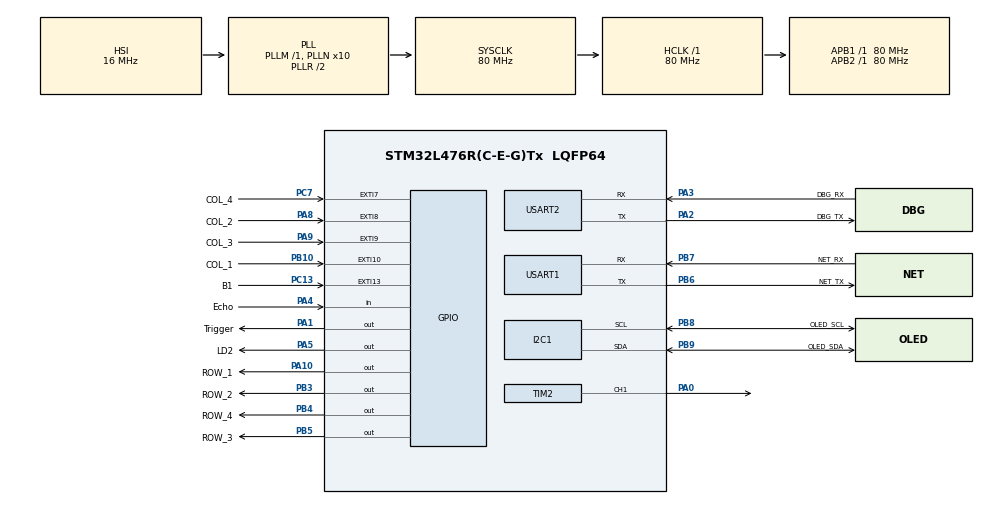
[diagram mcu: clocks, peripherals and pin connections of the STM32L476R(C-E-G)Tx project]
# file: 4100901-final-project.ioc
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Dma.Request0=TIM3_CH4/UP
Dma.TIM3_CH4/UP.0.Direction=DMA_PERIPH_TO_MEMORY
Dma.TIM3_CH4/UP.0.Instance=DMA1_Channel3
Dma.TIM3_CH4/UP.0.MemDataAlignment=DMA_MDATAALIGN_HALFWORD
Dma.TIM3_CH4/UP.0.MemInc=DMA_MINC_ENABLE
Dma.TIM3_CH4/UP.0.Mode=DMA_NORMAL
Dma.TIM3_CH4/UP.0.PeriphDataAlignment=DMA_PDATAALIGN_HALFWORD
Dma.TIM3_CH4/UP.0.PeriphInc=DMA_PINC_DISABLE
Dma.TIM3_CH4/UP.0.Priority=DMA_PRIORITY_LOW
I2C1.Timing=0x10909CEC
Mcu.Family=STM32L4
Mcu.Name=STM32L476R(C-E-G)Tx
Mcu.Package=LQFP64
NVIC.DMA1_Channel3_IRQn=true\:0\:0\:false\:false\:true\:false\:true\:true
NVIC.EXTI15_10_IRQn=true\:0\:0\:false\:false\:true\:true\:true\:true
NVIC.EXTI9_5_IRQn=true\:0\:0\:false\:false\:true\:true\:true\:true
NVIC.PriorityGroup=NVIC_PRIORITYGROUP_4
NVIC.RTC_Alarm_IRQn=true\:0\:0\:false\:false\:true\:true\:true\:true
NVIC.TIM3_IRQn=true\:0\:0\:false\:false\:true\:true\:true\:true
NVIC.USART1_IRQn=true\:0\:0\:false\:false\:true\:true\:true\:true
PA0.Signal=S_TIM2_CH1
PA1.GPIO_Label=Trigger
PA1.Signal=GPIO_Output
PA10.GPIO_Label=ROW_1
PA10.Signal=GPIO_Output
PA13\ (JTMS-SWDIO).GPIO_Label=TMS
PA13\ (JTMS-SWDIO).Mode=Serial_Wire
PA13\ (JTMS-SWDIO).Signal=SYS_JTMS-SWDIO
PA14\ (JTCK-SWCLK).GPIO_Label=TCK
PA14\ (JTCK-SWCLK).Mode=Serial_Wire
PA14\ (JTCK-SWCLK).Signal=SYS_JTCK-SWCLK
PA2.GPIO_Label=DBG_TX
PA2.GPIO_Mode=GPIO_MODE_AF_PP
PA2.GPIO_PuPd=GPIO_NOPULL
PA2.GPIO_Speed=GPIO_SPEED_FREQ_VERY_HIGH
PA2.Mode=Asynchronous
PA2.Signal=USART2_TX
PA3.GPIO_Label=DBG_RX
PA3.GPIO_Mode=GPIO_MODE_AF_PP
PA3.GPIO_PuPd=GPIO_NOPULL
PA3.GPIO_Speed=GPIO_SPEED_FREQ_VERY_HIGH
PA3.Mode=Asynchronous
PA3.Signal=USART2_RX
PA4.GPIO_Label=Echo
PA4.Signal=GPIO_Input
PA5.GPIO_Label=LD2
PA5.GPIO_ModeDefaultOutputPP=GPIO_MODE_OUTPUT_PP
PA5.GPIO_PuPd=GPIO_NOPULL
PA5.GPIO_Speed=GPIO_SPEED_FREQ_LOW
PA5.Signal=GPIO_Output
PA8.GPIO_Label=COL_2
PA8.GPIO_PuPd=GPIO_PULLDOWN
PA8.Signal=GPXTI8
PA9.GPIO_Label=COL_3
PA9.GPIO_PuPd=GPIO_PULLDOWN
PA9.Signal=GPXTI9
PB10.GPIO_Label=COL_1
PB10.GPIO_PuPd=GPIO_PULLDOWN
PB10.Signal=GPXTI10
PB3\ (JTDO-TRACESWO).GPIO_Label=ROW_2
PB3\ (JTDO-TRACESWO).Signal=GPIO_Output
PB4\ (NJTRST).GPIO_Label=ROW_4
PB4\ (NJTRST).Signal=GPIO_Output
PB5.GPIO_Label=ROW_3
PB5.Signal=GPIO_Output
PB6.GPIO_Label=NET_TX
PB6.Mode=Asynchronous
PB6.Signal=USART1_TX
PB7.GPIO_Label=NET_RX
PB7.Mode=Asynchronous
PB7.Signal=USART1_RX
PB8.GPIO_Label=OLED_SCL
PB8.Mode=I2C
PB8.Signal=I2C1_SCL
PB9.GPIO_Label=OLED_SDA
PB9.Mode=I2C
PB9.Signal=I2C1_SDA
PC13.GPIO_Label=B1
PC13.GPIO_ModeDefaultEXTI=GPIO_MODE_IT_FALLING
PC13.GPIO_PuPd=GPIO_NOPULL
PC13.Signal=GPXTI13
PC14-OSC32_IN\ (PC14).GPIO_Label=LSE_IN
PC14-OSC32_IN\ (PC14).Mode=LSE-External-Oscillator
PC14-OSC32_IN\ (PC14).Signal=RCC_OSC32_IN
PC15-OSC32_OUT\ (PC15).GPIO_Label=LSE_OUT
PC15-OSC32_OUT\ (PC15).Mode=LSE-External-Oscillator
PC15-OSC32_OUT\ (PC15).Signal=RCC_OSC32_OUT
PC7.GPIO_Label=COL_4
PC7.GPIO_PuPd=GPIO_PULLDOWN
PC7.Signal=GPXTI7
ProjectManager.HeapSize=0x200
ProjectManager.StackSize=0x400
ProjectManager.TargetToolchain=STM32CubeIDE
RCC.ADCFreq_Value=64000000
RCC.AHBFreq_Value=80000000
RCC.APB1Freq_Value=80000000
RCC.APB1TimFreq_Value=80000000
RCC.APB2Freq_Value=80000000
RCC.APB2TimFreq_Value=80000000
RCC.CortexFreq_Value=80000000
RCC.HCLKFreq_Value=80000000
RCC.HSE_VALUE=8000000
RCC.HSI_VALUE=16000000
RCC.MSI_VALUE=4000000
RCC.PLLN=10
RCC.PLLSourceVirtual=RCC_PLLSOURCE_HSI
RCC.PREFETCH_ENABLE=1
RCC.SYSCLKFreq_VALUE=80000000
RCC.SYSCLKSource=RCC_SYSCLKSOURCE_PLLCLK
RCC.USBFreq_Value=64000000
RCC.VCOOutputFreq_Value=160000000
RTC.Alarm-Alarm\ A=RTC_ALARM_A
RTC.Seconds_A-Alarm\ A=0
SH.S_TIM2_CH1.0=TIM2_CH1,PWM Generation1 CH1
TIM2.AutoReloadPreload=TIM_AUTORELOAD_PRELOAD_DISABLE
TIM2.Channel-PWM\ Generation1\ CH1=TIM_CHANNEL_1
TIM2.Period=20000
TIM2.Prescaler=80-1
TIM3.AutoReloadPreload=TIM_AUTORELOAD_PRELOAD_ENABLE
TIM3.Prescaler=79
USART1.VirtualMode-Asynchronous=VM_ASYNC
USART2.VirtualMode-Asynchronous=VM_ASYNC
VP_RTC_VS_RTC_Activate.Mode=RTC_Enabled
VP_RTC_VS_RTC_Alarm_A_Intern.Mode=Alarm A
VP_RTC_VS_RTC_Calendar.Mode=RTC_Calendar
VP_TIM2_VS_ClockSourceINT.Mode=Internal
VP_TIM3_VS_ClockSourceINT.Mode=Internal
board=NUCLEO-L476RG

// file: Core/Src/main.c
/* USER CODE BEGIN Header */
/**
  ******************************************************************************
  * @file           : main.c
  * @brief          : Main program body
  ******************************************************************************
  * @attention
  *
  * Copyright (c) 2023 STMicroelectronics.
  * All rights reserved.
  *
  * This software is licensed under terms that can be found in the LICENSE file
  * in the root directory of this software component.
  * If no LICENSE file comes with this software, it is provided AS-IS.
  *
  ******************************************************************************
  */
/* USER CODE END Header */
#include "main.h"

/* USER CODE BEGIN Includes */
#include <stdio.h>
#include <string.h>

#include "lock.h"
#include "keypad.h"
#include "ring_buffer.h"
#include "hc_sr04.h"
#include "PWM_cont.h"

/* USER CODE END Includes */

/* USER CODE BEGIN PD */
// Estas variables deben ser globales o accesibles desde main

/* USER CODE END PD */

I2C_HandleTypeDef hi2c1;

RTC_HandleTypeDef hrtc;

TIM_HandleTypeDef htim3;
DMA_HandleTypeDef hdma_tim3_ch4_up;

/* USER CODE BEGIN PV */
volatile uint16_t keypad_event = KEYPAD_EVENT_NONE;

//uint8_t message_[5];
//ring_buffer_t Rx_Data_;
/* USER CODE END PV */

void SystemClock_Config(void);
static void MX_GPIO_Init(void);
static void MX_DMA_Init(void);
static void MX_USART2_UART_Init(void);
static void MX_I2C1_Init(void);
static void MX_USART1_UART_Init(void);
static void MX_RTC_Init(void);
static void MX_TIM2_Init(void);
static void MX_TIM3_Init(void);

/* USER CODE BEGIN 0 */
int _write(int file, char *ptr, int len)
{
  // send each byte in blocking mode
  for (uint8_t idx = 0; idx < len; idx++) {
	  while (LL_USART_IsActiveFlag_TXE(USART2) == 0) {
		  // wait until Tx Empty flag becomes true
		  // TODO: add timeout
	  }
	  LL_USART_TransmitData8(USART2, ptr[idx]);
  }
  return len;
}

void keypad_it_callback(uint16_t pin)
{
	keypad_event = pin;
}
/*
void Rx_USART1_(ring_buffer_t *ring_buffer) {
    if (LL_USART_IsActiveFlag_RXNE(USART1)) {
        uint8_t received_data = LL_USART_ReceiveData8(USART1);
        ring_buffer_put(ring_buffer, received_data);
        printf("data %x \r\n", received_data);

    if(ring_buffer_is_full(ring_buffer)){
    	ring_buffer_reset(&Rx_Data_);
    	memset(message_,0,sizeof(message_));
    }
    }
}*/
/* USER CODE END 0 */

int main(void)
{

  /* MCU Configuration--------------------------------------------------------*/

  /* Reset of all peripherals, Initializes the Flash interface and the Systick. */
  HAL_Init();

  /* Configure the system clock */
  SystemClock_Config();

  /* Initialize all configured peripherals */
  MX_GPIO_Init();
  MX_DMA_Init();
  MX_USART2_UART_Init();
  MX_I2C1_Init();
  MX_USART1_UART_Init();
  MX_RTC_Init();
  MX_TIM2_Init();
  MX_TIM3_Init();
  /* USER CODE BEGIN 2 */
  lock_init();
  //LL_USART_EnableIT_RXNE(USART1);
  keypad_init();
  //Rx_USART1_init(&Rx_Data, message, 5);
  //ring_buffer_init(&Rx_Data_, message_, 5);

  HC_SR04_Init();  // Inicializa el sensor HC-SR04
  LL_TIM_EnableCounter(TIM3); // Inicia el temporizador TIM3

  /* USER CODE END 2 */

  /* Infinite loop */
  /* USER CODE BEGIN WHILE */

  printf("Started\r\n");
  // Variables to track the state of the LED and the last time it changed

  uint32_t lastLedChangeTime = 0;
  uint8_t ledIsOn = 0;

  while (1)
  {
	  Rx_USART1();
	  uint8_t flag = Flag_USART1();
	  if (flag==1) {
		  lock_sequence();
	}
	  uint32_t currentTime = HAL_GetTick();

/*
	      // Reinicio automático del LED después de 4 segundos
	      if ((currentTime - lastLedChangeTime) > 4000) {
	          LL_GPIO_ResetOutputPin(LD2_GPIO_Port, LD2_Pin); // Apagar el LED
	          ledIsOn = 0;
	          lastLedChangeTime = currentTime;
	      }
*/

	      // Otras operaciones

	      uint8_t key_pressed = keypad_run(&keypad_event);
	      if (key_pressed != KEY_PRESSED_NONE) {
	          lock_sequence_handler(key_pressed);
	          lock_control_ultrasonic_sensor(key_pressed);
	      }

	      if (ultrasonicSensorEnabled == 1) {

	           uint32_t distance = HC_SR04_Read();

			  // Si la distancia es mayor que 0 y menor o igual a 30, manejar el LED
			  if (distance > 0) {
				  printf("Distancia: %lu cm\r\n", distance);
				  if (distance <= 8 && !ledIsOn) {
					  LL_GPIO_SetOutputPin(LD2_GPIO_Port, LD2_Pin); // Encender el LED
					  ledIsOn = 1;
					  //PWM_SendSOS();
					  lastLedChangeTime = currentTime;
				  } else if (distance > 8 && ledIsOn) {
					  LL_GPIO_ResetOutputPin(LD2_GPIO_Port, LD2_Pin); // Apagar el LED
					  ledIsOn = 0;
					  lastLedChangeTime = currentTime;
				  }
			  } else {
				  printf("Error en la lectura del sensor\r\n");
				  LL_GPIO_ResetOutputPin(LD2_GPIO_Port, LD2_Pin); // Asegurarse de que el LED esté apagado
				  ledIsOn = 0;
				  lastLedChangeTime = currentTime;
			  }

	      }

	      PWM_Morse_Update();

	      HAL_Delay(100);

    /* USER CODE END WHILE */

  }
}

void SystemClock_Config(void)
{
  RCC_OscInitTypeDef RCC_OscInitStruct = {0};
  RCC_ClkInitTypeDef RCC_ClkInitStruct = {0};

  /** Configure the main internal regulator output voltage
  */
  if (HAL_PWREx_ControlVoltageScaling(PWR_REGULATOR_VOLTAGE_SCALE1) != HAL_OK)
  {
    Error_Handler();
  }

  /** Initializes the RCC Oscillators according to the specified parameters
  * in the RCC_OscInitTypeDef structure.
  */
  RCC_OscInitStruct.OscillatorType = RCC_OSCILLATORTYPE_HSI|RCC_OSCILLATORTYPE_LSI;
  RCC_OscInitStruct.HSIState = RCC_HSI_ON;
  RCC_OscInitStruct.HSICalibrationValue = RCC_HSICALIBRATION_DEFAULT;
  RCC_OscInitStruct.LSIState = RCC_LSI_ON;
  RCC_OscInitStruct.PLL.PLLState = RCC_PLL_ON;
  RCC_OscInitStruct.PLL.PLLSource = RCC_PLLSOURCE_HSI;
  RCC_OscInitStruct.PLL.PLLM = 1;
  RCC_OscInitStruct.PLL.PLLN = 10;
  RCC_OscInitStruct.PLL.PLLP = RCC_PLLP_DIV7;
  RCC_OscInitStruct.PLL.PLLQ = RCC_PLLQ_DIV2;
  RCC_OscInitStruct.PLL.PLLR = RCC_PLLR_DIV2;
  if (HAL_RCC_OscConfig(&RCC_OscInitStruct) != HAL_OK)
  {
    Error_Handler();
  }

  /** Initializes the CPU, AHB and APB buses clocks
  */
  RCC_ClkInitStruct.ClockType = RCC_CLOCKTYPE_HCLK|RCC_CLOCKTYPE_SYSCLK
                              |RCC_CLOCKTYPE_PCLK1|RCC_CLOCKTYPE_PCLK2;
  RCC_ClkInitStruct.SYSCLKSource = RCC_SYSCLKSOURCE_PLLCLK;
  RCC_ClkInitStruct.AHBCLKDivider = RCC_SYSCLK_DIV1;
  RCC_ClkInitStruct.APB1CLKDivider = RCC_HCLK_DIV1;
  RCC_ClkInitStruct.APB2CLKDivider = RCC_HCLK_DIV1;

  if (HAL_RCC_ClockConfig(&RCC_ClkInitStruct, FLASH_LATENCY_4) != HAL_OK)
  {
    Error_Handler();
  }
}

static void MX_I2C1_Init(void)
{

  hi2c1.Instance = I2C1;
  hi2c1.Init.Timing = 0x10909CEC;
  hi2c1.Init.OwnAddress1 = 0;
  hi2c1.Init.AddressingMode = I2C_ADDRESSINGMODE_7BIT;
  hi2c1.Init.DualAddressMode = I2C_DUALADDRESS_DISABLE;
  hi2c1.Init.OwnAddress2 = 0;
  hi2c1.Init.OwnAddress2Masks = I2C_OA2_NOMASK;
  hi2c1.Init.GeneralCallMode = I2C_GENERALCALL_DISABLE;
  hi2c1.Init.NoStretchMode = I2C_NOSTRETCH_DISABLE;
  if (HAL_I2C_Init(&hi2c1) != HAL_OK)
  {
    Error_Handler();
  }

  /** Configure Analogue filter
  */
  if (HAL_I2CEx_ConfigAnalogFilter(&hi2c1, I2C_ANALOGFILTER_ENABLE) != HAL_OK)
  {
    Error_Handler();
  }

  /** Configure Digital filter
  */
  if (HAL_I2CEx_ConfigDigitalFilter(&hi2c1, 0) != HAL_OK)
  {
    Error_Handler();
  }

}

static void MX_RTC_Init(void)
{

  RTC_TimeTypeDef sTime = {0};
  RTC_DateTypeDef sDate = {0};
  RTC_AlarmTypeDef sAlarm = {0};

  /** Initialize RTC Only
  */
  hrtc.Instance = RTC;
  hrtc.Init.HourFormat = RTC_HOURFORMAT_24;
  hrtc.Init.AsynchPrediv = 127;
  hrtc.Init.SynchPrediv = 255;
  hrtc.Init.OutPut = RTC_OUTPUT_DISABLE;
  hrtc.Init.OutPutRemap = RTC_OUTPUT_REMAP_NONE;
  hrtc.Init.OutPutPolarity = RTC_OUTPUT_POLARITY_HIGH;
  hrtc.Init.OutPutType = RTC_OUTPUT_TYPE_OPENDRAIN;
  if (HAL_RTC_Init(&hrtc) != HAL_OK)
  {
    Error_Handler();
  }

  /** Initialize RTC and set the Time and Date
  */
  sTime.Hours = 0x0;
  sTime.Minutes = 0x0;
  sTime.Seconds = 0x0;
  sTime.DayLightSaving = RTC_DAYLIGHTSAVING_NONE;
  sTime.StoreOperation = RTC_STOREOPERATION_RESET;
  if (HAL_RTC_SetTime(&hrtc, &sTime, RTC_FORMAT_BCD) != HAL_OK)
  {
    Error_Handler();
  }
  sDate.WeekDay = RTC_WEEKDAY_MONDAY;
  sDate.Month = RTC_MONTH_JANUARY;
  sDate.Date = 0x1;
  sDate.Year = 0x0;

  if (HAL_RTC_SetDate(&hrtc, &sDate, RTC_FORMAT_BCD) != HAL_OK)
  {
    Error_Handler();
  }

  /** Enable the Alarm A
  */
  sAlarm.AlarmTime.Hours = 0x0;
  sAlarm.AlarmTime.Minutes = 0x0;
  sAlarm.AlarmTime.Seconds = 0x0;
  sAlarm.AlarmTime.SubSeconds = 0x0;
  sAlarm.AlarmTime.DayLightSaving = RTC_DAYLIGHTSAVING_NONE;
  sAlarm.AlarmTime.StoreOperation = RTC_STOREOPERATION_RESET;
  sAlarm.AlarmMask = RTC_ALARMMASK_NONE;
  sAlarm.AlarmSubSecondMask = RTC_ALARMSUBSECONDMASK_ALL;
  sAlarm.AlarmDateWeekDaySel = RTC_ALARMDATEWEEKDAYSEL_DATE;
  sAlarm.AlarmDateWeekDay = 0x1;
  sAlarm.Alarm = RTC_ALARM_A;
  if (HAL_RTC_SetAlarm_IT(&hrtc, &sAlarm, RTC_FORMAT_BCD) != HAL_OK)
  {
    Error_Handler();
  }

}

static void MX_TIM2_Init(void)
{

  LL_TIM_InitTypeDef TIM_InitStruct = {0};
  LL_TIM_OC_InitTypeDef TIM_OC_InitStruct = {0};

  LL_GPIO_InitTypeDef GPIO_InitStruct = {0};

  /* Peripheral clock enable */
  LL_APB1_GRP1_EnableClock(LL_APB1_GRP1_PERIPH_TIM2);

  TIM_InitStruct.Prescaler = 80-LL_TIM_IC_FILTER_FDIV1_N2;
  TIM_InitStruct.CounterMode = LL_TIM_COUNTERMODE_UP;
  TIM_InitStruct.Autoreload = 20000;
  TIM_InitStruct.ClockDivision = LL_TIM_CLOCKDIVISION_DIV1;
  LL_TIM_Init(TIM2, &TIM_InitStruct);
  LL_TIM_DisableARRPreload(TIM2);
  LL_TIM_SetClockSource(TIM2, LL_TIM_CLOCKSOURCE_INTERNAL);
  LL_TIM_OC_EnablePreload(TIM2, LL_TIM_CHANNEL_CH1);
  TIM_OC_InitStruct.OCMode = LL_TIM_OCMODE_PWM1;
  TIM_OC_InitStruct.OCState = LL_TIM_OCSTATE_DISABLE;
  TIM_OC_InitStruct.OCNState = LL_TIM_OCSTATE_DISABLE;
  TIM_OC_InitStruct.CompareValue = 0;
  TIM_OC_InitStruct.OCPolarity = LL_TIM_OCPOLARITY_HIGH;
  LL_TIM_OC_Init(TIM2, LL_TIM_CHANNEL_CH1, &TIM_OC_InitStruct);
  LL_TIM_OC_DisableFast(TIM2, LL_TIM_CHANNEL_CH1);
  LL_TIM_SetOCRefClearInputSource(TIM2, LL_TIM_OCREF_CLR_INT_NC);
  LL_TIM_DisableExternalClock(TIM2);
  LL_TIM_ConfigETR(TIM2, LL_TIM_ETR_POLARITY_NONINVERTED, LL_TIM_ETR_PRESCALER_DIV1, LL_TIM_ETR_FILTER_FDIV1);
  LL_TIM_SetTriggerOutput(TIM2, LL_TIM_TRGO_RESET);
  LL_TIM_DisableMasterSlaveMode(TIM2);
  LL_AHB2_GRP1_EnableClock(LL_AHB2_GRP1_PERIPH_GPIOA);
  /**TIM2 GPIO Configuration
  PA0   ------> TIM2_CH1
  */
  GPIO_InitStruct.Pin = LL_GPIO_PIN_0;
  GPIO_InitStruct.Mode = LL_GPIO_MODE_ALTERNATE;
  GPIO_InitStruct.Speed = LL_GPIO_SPEED_FREQ_LOW;
  GPIO_InitStruct.OutputType = LL_GPIO_OUTPUT_PUSHPULL;
  GPIO_InitStruct.Pull = LL_GPIO_PULL_NO;
  GPIO_InitStruct.Alternate = LL_GPIO_AF_1;
  LL_GPIO_Init(GPIOA, &GPIO_InitStruct);

}

static void MX_TIM3_Init(void)
{

  TIM_ClockConfigTypeDef sClockSourceConfig = {0};
  TIM_MasterConfigTypeDef sMasterConfig = {0};

  htim3.Instance = TIM3;
  htim3.Init.Prescaler = 79;
  htim3.Init.CounterMode = TIM_COUNTERMODE_UP;
  htim3.Init.Period = 65535;
  htim3.Init.ClockDivision = TIM_CLOCKDIVISION_DIV1;
  htim3.Init.AutoReloadPreload = TIM_AUTORELOAD_PRELOAD_ENABLE;
  if (HAL_TIM_Base_Init(&htim3) != HAL_OK)
  {
    Error_Handler();
  }
  sClockSourceConfig.ClockSource = TIM_CLOCKSOURCE_INTERNAL;
  if (HAL_TIM_ConfigClockSource(&htim3, &sClockSourceConfig) != HAL_OK)
  {
    Error_Handler();
  }
  sMasterConfig.MasterOutputTrigger = TIM_TRGO_RESET;
  sMasterConfig.MasterSlaveMode = TIM_MASTERSLAVEMODE_DISABLE;
  if (HAL_TIMEx_MasterConfigSynchronization(&htim3, &sMasterConfig) != HAL_OK)
  {
    Error_Handler();
  }

}

static void MX_USART1_UART_Init(void)
{

  LL_USART_InitTypeDef USART_InitStruct = {0};

  LL_GPIO_InitTypeDef GPIO_InitStruct = {0};
  RCC_PeriphCLKInitTypeDef PeriphClkInit = {0};

  /** Initializes the peripherals clock
  */
  PeriphClkInit.PeriphClockSelection = RCC_PERIPHCLK_USART1;
  PeriphClkInit.Usart1ClockSelection = RCC_USART1CLKSOURCE_PCLK2;
  if (HAL_RCCEx_PeriphCLKConfig(&PeriphClkInit) != HAL_OK)
  {
    Error_Handler();
  }

  /* Peripheral clock enable */
  LL_APB2_GRP1_EnableClock(LL_APB2_GRP1_PERIPH_USART1);

  LL_AHB2_GRP1_EnableClock(LL_AHB2_GRP1_PERIPH_GPIOB);
  /**USART1 GPIO Configuration
  PB6   ------> USART1_TX
  PB7   ------> USART1_RX
  */
  GPIO_InitStruct.Pin = NET_TX_Pin|NET_RX_Pin;
  GPIO_InitStruct.Mode = LL_GPIO_MODE_ALTERNATE;
  GPIO_InitStruct.Speed = LL_GPIO_SPEED_FREQ_VERY_HIGH;
  GPIO_InitStruct.OutputType = LL_GPIO_OUTPUT_PUSHPULL;
  GPIO_InitStruct.Pull = LL_GPIO_PULL_NO;
  GPIO_InitStruct.Alternate = LL_GPIO_AF_7;
  LL_GPIO_Init(GPIOB, &GPIO_InitStruct);

  /* USART1 interrupt Init */
  NVIC_SetPriority(USART1_IRQn, NVIC_EncodePriority(NVIC_GetPriorityGrouping(),0, 0));
  NVIC_EnableIRQ(USART1_IRQn);

  USART_InitStruct.BaudRate = 115200;
  USART_InitStruct.DataWidth = LL_USART_DATAWIDTH_8B;
  USART_InitStruct.StopBits = LL_USART_STOPBITS_1;
  USART_InitStruct.Parity = LL_USART_PARITY_NONE;
  USART_InitStruct.TransferDirection = LL_USART_DIRECTION_TX_RX;
  USART_InitStruct.HardwareFlowControl = LL_USART_HWCONTROL_NONE;
  USART_InitStruct.OverSampling = LL_USART_OVERSAMPLING_16;
  LL_USART_Init(USART1, &USART_InitStruct);
  LL_USART_ConfigAsyncMode(USART1);
  LL_USART_Enable(USART1);

}

static void MX_USART2_UART_Init(void)
{

  LL_USART_InitTypeDef USART_InitStruct = {0};

  LL_GPIO_InitTypeDef GPIO_InitStruct = {0};
  RCC_PeriphCLKInitTypeDef PeriphClkInit = {0};

  /** Initializes the peripherals clock
  */
  PeriphClkInit.PeriphClockSelection = RCC_PERIPHCLK_USART2;
  PeriphClkInit.Usart2ClockSelection = RCC_USART2CLKSOURCE_PCLK1;
  if (HAL_RCCEx_PeriphCLKConfig(&PeriphClkInit) != HAL_OK)
  {
    Error_Handler();
  }

  /* Peripheral clock enable */
  LL_APB1_GRP1_EnableClock(LL_APB1_GRP1_PERIPH_USART2);

  LL_AHB2_GRP1_EnableClock(LL_AHB2_GRP1_PERIPH_GPIOA);
  /**USART2 GPIO Configuration
  PA2   ------> USART2_TX
  PA3   ------> USART2_RX
  */
  GPIO_InitStruct.Pin = DBG_TX_Pin|DBG_RX_Pin;
  GPIO_InitStruct.Mode = LL_GPIO_MODE_ALTERNATE;
  GPIO_InitStruct.Speed = LL_GPIO_SPEED_FREQ_VERY_HIGH;
  GPIO_InitStruct.OutputType = LL_GPIO_OUTPUT_PUSHPULL;
  GPIO_InitStruct.Pull = LL_GPIO_PULL_NO;
  GPIO_InitStruct.Alternate = LL_GPIO_AF_7;
  LL_GPIO_Init(GPIOA, &GPIO_InitStruct);

  USART_InitStruct.BaudRate = 115200;
  USART_InitStruct.DataWidth = LL_USART_DATAWIDTH_8B;
  USART_InitStruct.StopBits = LL_USART_STOPBITS_1;
  USART_InitStruct.Parity = LL_USART_PARITY_NONE;
  USART_InitStruct.TransferDirection = LL_USART_DIRECTION_TX_RX;
  USART_InitStruct.HardwareFlowControl = LL_USART_HWCONTROL_NONE;
  USART_InitStruct.OverSampling = LL_USART_OVERSAMPLING_16;
  LL_USART_Init(USART2, &USART_InitStruct);
  LL_USART_ConfigAsyncMode(USART2);
  LL_USART_Enable(USART2);

}

static void MX_DMA_Init(void)
{

  /* DMA controller clock enable */
  __HAL_RCC_DMA1_CLK_ENABLE();

  /* DMA interrupt init */
  /* DMA1_Channel3_IRQn interrupt configuration */
  HAL_NVIC_SetPriority(DMA1_Channel3_IRQn, 0, 0);
  HAL_NVIC_EnableIRQ(DMA1_Channel3_IRQn);

}

static void MX_GPIO_Init(void)
{
  LL_EXTI_InitTypeDef EXTI_InitStruct = {0};
  LL_GPIO_InitTypeDef GPIO_InitStruct = {0};

  /* GPIO Ports Clock Enable */
  LL_AHB2_GRP1_EnableClock(LL_AHB2_GRP1_PERIPH_GPIOC);
  LL_AHB2_GRP1_EnableClock(LL_AHB2_GRP1_PERIPH_GPIOA);
  LL_AHB2_GRP1_EnableClock(LL_AHB2_GRP1_PERIPH_GPIOB);

  /**/
  LL_GPIO_ResetOutputPin(GPIOA, Trigger_Pin|LD2_Pin|ROW_1_Pin);

  /**/
  LL_GPIO_ResetOutputPin(GPIOB, ROW_2_Pin|ROW_4_Pin|ROW_3_Pin);

  /**/
  LL_SYSCFG_SetEXTISource(LL_SYSCFG_EXTI_PORTC, LL_SYSCFG_EXTI_LINE13);

  /**/
  LL_SYSCFG_SetEXTISource(LL_SYSCFG_EXTI_PORTB, LL_SYSCFG_EXTI_LINE10);

  /**/
  LL_SYSCFG_SetEXTISource(LL_SYSCFG_EXTI_PORTC, LL_SYSCFG_EXTI_LINE7);

  /**/
  LL_SYSCFG_SetEXTISource(LL_SYSCFG_EXTI_PORTA, LL_SYSCFG_EXTI_LINE8);

  /**/
  LL_SYSCFG_SetEXTISource(LL_SYSCFG_EXTI_PORTA, LL_SYSCFG_EXTI_LINE9);

  /**/
  EXTI_InitStruct.Line_0_31 = LL_EXTI_LINE_13;
  EXTI_InitStruct.Line_32_63 = LL_EXTI_LINE_NONE;
  EXTI_InitStruct.LineCommand = ENABLE;
  EXTI_InitStruct.Mode = LL_EXTI_MODE_IT;
  EXTI_InitStruct.Trigger = LL_EXTI_TRIGGER_FALLING;
  LL_EXTI_Init(&EXTI_InitStruct);

  /**/
  EXTI_InitStruct.Line_0_31 = LL_EXTI_LINE_10;
  EXTI_InitStruct.Line_32_63 = LL_EXTI_LINE_NONE;
  EXTI_InitStruct.LineCommand = ENABLE;
  EXTI_InitStruct.Mode = LL_EXTI_MODE_IT;
  EXTI_InitStruct.Trigger = LL_EXTI_TRIGGER_RISING;
  LL_EXTI_Init(&EXTI_InitStruct);

  /**/
  EXTI_InitStruct.Line_0_31 = LL_EXTI_LINE_7;
  EXTI_InitStruct.Line_32_63 = LL_EXTI_LINE_NONE;
  EXTI_InitStruct.LineCommand = ENABLE;
  EXTI_InitStruct.Mode = LL_EXTI_MODE_IT;
  EXTI_InitStruct.Trigger = LL_EXTI_TRIGGER_RISING;
  LL_EXTI_Init(&EXTI_InitStruct);

  /**/
  EXTI_InitStruct.Line_0_31 = LL_EXTI_LINE_8;
  EXTI_InitStruct.Line_32_63 = LL_EXTI_LINE_NONE;
  EXTI_InitStruct.LineCommand = ENABLE;
  EXTI_InitStruct.Mode = LL_EXTI_MODE_IT;
  EXTI_InitStruct.Trigger = LL_EXTI_TRIGGER_RISING;
  LL_EXTI_Init(&EXTI_InitStruct);

  /**/
  EXTI_InitStruct.Line_0_31 = LL_EXTI_LINE_9;
  EXTI_InitStruct.Line_32_63 = LL_EXTI_LINE_NONE;
  EXTI_InitStruct.LineCommand = ENABLE;
  EXTI_InitStruct.Mode = LL_EXTI_MODE_IT;
  EXTI_InitStruct.Trigger = LL_EXTI_TRIGGER_RISING;
  LL_EXTI_Init(&EXTI_InitStruct);

  /**/
  LL_GPIO_SetPinPull(B1_GPIO_Port, B1_Pin, LL_GPIO_PULL_NO);

  /**/
  LL_GPIO_SetPinPull(COL_1_GPIO_Port, COL_1_Pin, LL_GPIO_PULL_DOWN);

  /**/
  LL_GPIO_SetPinPull(COL_4_GPIO_Port, COL_4_Pin, LL_GPIO_PULL_DOWN);

  /**/
  LL_GPIO_SetPinPull(COL_2_GPIO_Port, COL_2_Pin, LL_GPIO_PULL_DOWN);

  /**/
  LL_GPIO_SetPinPull(COL_3_GPIO_Port, COL_3_Pin, LL_GPIO_PULL_DOWN);

  /**/
  LL_GPIO_SetPinMode(B1_GPIO_Port, B1_Pin, LL_GPIO_MODE_INPUT);

  /**/
  LL_GPIO_SetPinMode(COL_1_GPIO_Port, COL_1_Pin, LL_GPIO_MODE_INPUT);

  /**/
  LL_GPIO_SetPinMode(COL_4_GPIO_Port, COL_4_Pin, LL_GPIO_MODE_INPUT);

  /**/
  LL_GPIO_SetPinMode(COL_2_GPIO_Port, COL_2_Pin, LL_GPIO_MODE_INPUT);

  /**/
  LL_GPIO_SetPinMode(COL_3_GPIO_Port, COL_3_Pin, LL_GPIO_MODE_INPUT);

  /**/
  GPIO_InitStruct.Pin = Trigger_Pin|LD2_Pin|ROW_1_Pin;
  GPIO_InitStruct.Mode = LL_GPIO_MODE_OUTPUT;
  GPIO_InitStruct.Speed = LL_GPIO_SPEED_FREQ_LOW;
  GPIO_InitStruct.OutputType = LL_GPIO_OUTPUT_PUSHPULL;
  GPIO_InitStruct.Pull = LL_GPIO_PULL_NO;
  LL_GPIO_Init(GPIOA, &GPIO_InitStruct);

  /**/
  GPIO_InitStruct.Pin = Echo_Pin;
  GPIO_InitStruct.Mode = LL_GPIO_MODE_INPUT;
  GPIO_InitStruct.Pull = LL_GPIO_PULL_NO;
  LL_GPIO_Init(Echo_GPIO_Port, &GPIO_InitStruct);

  /**/
  GPIO_InitStruct.Pin = ROW_2_Pin|ROW_4_Pin|ROW_3_Pin;
  GPIO_InitStruct.Mode = LL_GPIO_MODE_OUTPUT;
  GPIO_InitStruct.Speed = LL_GPIO_SPEED_FREQ_LOW;
  GPIO_InitStruct.OutputType = LL_GPIO_OUTPUT_PUSHPULL;
  GPIO_InitStruct.Pull = LL_GPIO_PULL_NO;
  LL_GPIO_Init(GPIOB, &GPIO_InitStruct);

  /* EXTI interrupt init*/
  NVIC_SetPriority(EXTI9_5_IRQn, NVIC_EncodePriority(NVIC_GetPriorityGrouping(),0, 0));
  NVIC_EnableIRQ(EXTI9_5_IRQn);
  NVIC_SetPriority(EXTI15_10_IRQn, NVIC_EncodePriority(NVIC_GetPriorityGrouping(),0, 0));
  NVIC_EnableIRQ(EXTI15_10_IRQn);

/* USER CODE BEGIN MX_GPIO_Init_2 */

  // Configuración del pin del LED con LL

    LL_AHB2_GRP1_EnableClock(LL_AHB2_GRP1_PERIPH_GPIOA); // Activar el reloj para GPIOA

    GPIO_InitStruct.Pin = LD2_Pin; // Asegúrate de que LD2_Pin esté definido correctamente
    GPIO_InitStruct.Mode = LL_GPIO_MODE_OUTPUT;
    GPIO_InitStruct.Speed = LL_GPIO_SPEED_FREQ_LOW;
    GPIO_InitStruct.OutputType = LL_GPIO_OUTPUT_PUSHPULL;
    GPIO_InitStruct.Pull = LL_GPIO_PULL_NO;
    LL_GPIO_Init(GPIOA, &GPIO_InitStruct);
/* USER CODE END MX_GPIO_Init_2 */
}

void Error_Handler(void)
{
  __disable_irq();
  while (1)
  {
  }
}
